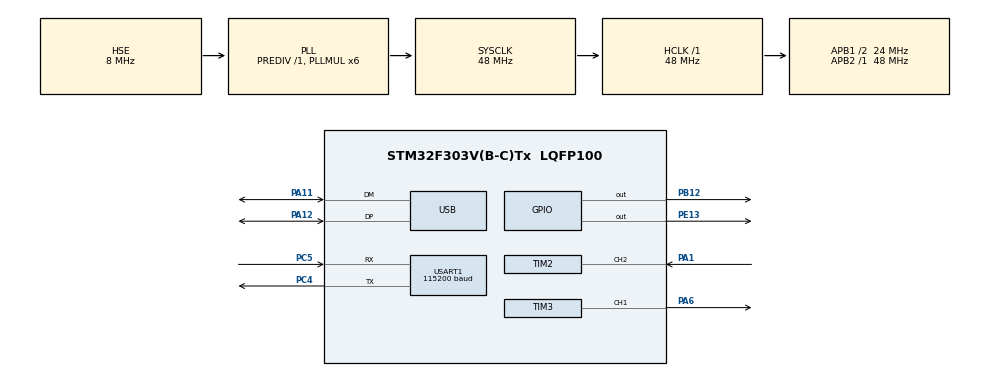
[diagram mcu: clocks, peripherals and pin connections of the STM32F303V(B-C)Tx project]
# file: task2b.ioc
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Mcu.Family=STM32F3
Mcu.Name=STM32F303V(B-C)Tx
Mcu.Package=LQFP100
NVIC.PriorityGroup=NVIC_PRIORITYGROUP_0
NVIC.TIM2_IRQn=true\:0\:0\:false\:false\:true\:true\:true\:true
NVIC.USB_LP_CAN_RX0_IRQn=true\:0\:0\:false\:false\:true\:false\:true\:true
PA1.GPIO_PuPd=GPIO_PULLUP
PA1.Signal=S_TIM2_CH2
PA11.Mode=Device
PA11.Signal=USB_DM
PA12.Mode=Device
PA12.Signal=USB_DP
PA6.Signal=S_TIM3_CH1
PB12.Signal=GPIO_Output
PC4.Mode=Asynchronous
PC4.Signal=USART1_TX
PC5.Mode=Asynchronous
PC5.Signal=USART1_RX
PE13.Signal=GPIO_Output
PF0-OSC_IN.Mode=HSE-External-Oscillator
PF0-OSC_IN.Signal=RCC_OSC_IN
PF1-OSC_OUT.Mode=HSE-External-Oscillator
PF1-OSC_OUT.Signal=RCC_OSC_OUT
ProjectManager.HeapSize=0x200
ProjectManager.StackSize=0x400
ProjectManager.TargetToolchain=CMake
RCC.AHBFreq_Value=48000000
RCC.APB1CLKDivider=RCC_HCLK_DIV2
RCC.APB1Freq_Value=24000000
RCC.APB1TimFreq_Value=48000000
RCC.APB2Freq_Value=48000000
RCC.APB2TimFreq_Value=48000000
RCC.CortexFreq_Value=48000000
RCC.HCLKFreq_Value=48000000
RCC.HSE_VALUE=8000000
RCC.HSI_VALUE=8000000
RCC.LSE_VALUE=32768
RCC.PLLMUL=RCC_PLL_MUL6
RCC.SYSCLKFreq_VALUE=48000000
RCC.SYSCLKSourceVirtual=RCC_SYSCLKSOURCE_PLLCLK
RCC.USBFreq_Value=48000000
SH.S_TIM2_CH2.0=TIM2_CH2,Input_Capture2_from_TI2
SH.S_TIM3_CH1.0=TIM3_CH1,PWM Generation1 CH1
TIM2.Channel-Input_Capture2_from_TI2=TIM_CHANNEL_2
TIM2.Prescaler=71
TIM3.Channel-PWM\ Generation1\ CH1=TIM_CHANNEL_1
TIM3.Period=999
TIM3.Prescaler=71
TIM3.Pulse-PWM\ Generation1\ CH1=500
USART1.BaudRate=115200
USART1.VirtualMode-Asynchronous=VM_ASYNC
USB_DEVICE.CLASS_NAME_FS=CDC
USB_DEVICE.VirtualMode=Cdc
USB_DEVICE.VirtualModeFS=Cdc_FS
VP_TIM2_VS_ClockSourceINT.Mode=Internal
VP_TIM3_VS_ClockSourceINT.Mode=Internal
VP_USB_DEVICE_VS_USB_DEVICE_CDC_FS.Mode=CDC_FS
board=STM32F3DISCOVERY

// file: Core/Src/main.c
/* USER CODE BEGIN Header */
/**
  ******************************************************************************
  * @file           : main.c
  * @brief          : Main program body
  ******************************************************************************
  * @attention
  *
  * Copyright (c) 2025 STMicroelectronics.
  * All rights reserved.
  *
  * This software is licensed under terms that can be found in the LICENSE file
  * in the root directory of this software component.
  * If no LICENSE file comes with this software, it is provided AS-IS.
  *
  ******************************************************************************
  */
/* USER CODE END Header */
#include "main.h"
#include "usb_device.h"

TIM_HandleTypeDef htim2;
TIM_HandleTypeDef htim3;
UART_HandleTypeDef huart1;

/* USER CODE BEGIN PV */
uint32_t IC_Value1 = 0;
uint32_t IC_Value2 = 0;
uint32_t Difference = 0;
uint8_t Is_First_Captured = 0;
float Frequency = 0;
char msg[50];
/* USER CODE END PV */

void SystemClock_Config(void);
static void MX_GPIO_Init(void);
static void MX_TIM2_Init(void);
static void MX_TIM3_Init(void);
static void MX_USART1_UART_Init(void);

int main(void)
{

  /* MCU Configuration--------------------------------------------------------*/

  /* Reset of all peripherals, Initializes the Flash interface and the Systick. */
  HAL_Init();

  /* Configure the system clock */
  SystemClock_Config();

  /* Initialize all configured peripherals */
  MX_GPIO_Init();
  MX_TIM2_Init();
  MX_TIM3_Init();
  MX_USART1_UART_Init();
  MX_USB_DEVICE_Init();
  HAL_TIM_IC_Start_IT(&htim2, TIM_CHANNEL_2);
  HAL_GPIO_WritePin(GPIOB, GPIO_PIN_12, GPIO_PIN_SET); // Ddurection pin
  TIM3->CCR1 = 1000;  //pwm cycle
  HAL_TIM_PWM_Start(&htim3, TIM_CHANNEL_1);

  /* Infinite loop */
  while (1)
  {
    if (Frequency > 0)
        {
          snprintf(msg, sizeof(msg), "Frequency = %.2f Hz\r\n", Frequency);
          HAL_UART_Transmit(&huart1, (uint8_t*)msg, strlen(msg), HAL_MAX_DELAY);
          Frequency = 0;
        }
  }
}

void SystemClock_Config(void)
{
  RCC_OscInitTypeDef RCC_OscInitStruct = {0};
  RCC_ClkInitTypeDef RCC_ClkInitStruct = {0};
  RCC_PeriphCLKInitTypeDef PeriphClkInit = {0};

  /** Initializes the RCC Oscillators according to the specified parameters
  * in the RCC_OscInitTypeDef structure.
  */
  RCC_OscInitStruct.OscillatorType = RCC_OSCILLATORTYPE_HSE;
  RCC_OscInitStruct.HSEState = RCC_HSE_ON;
  RCC_OscInitStruct.HSEPredivValue = RCC_HSE_PREDIV_DIV1;
  RCC_OscInitStruct.HSIState = RCC_HSI_ON;
  RCC_OscInitStruct.PLL.PLLState = RCC_PLL_ON;
  RCC_OscInitStruct.PLL.PLLSource = RCC_PLLSOURCE_HSE;
  RCC_OscInitStruct.PLL.PLLMUL = RCC_PLL_MUL6;
  if (HAL_RCC_OscConfig(&RCC_OscInitStruct) != HAL_OK)
  {
    Error_Handler();
  }

  /** Initializes the CPU, AHB and APB buses clocks
  */
  RCC_ClkInitStruct.ClockType = RCC_CLOCKTYPE_HCLK|RCC_CLOCKTYPE_SYSCLK
                              |RCC_CLOCKTYPE_PCLK1|RCC_CLOCKTYPE_PCLK2;
  RCC_ClkInitStruct.SYSCLKSource = RCC_SYSCLKSOURCE_PLLCLK;
  RCC_ClkInitStruct.AHBCLKDivider = RCC_SYSCLK_DIV1;
  RCC_ClkInitStruct.APB1CLKDivider = RCC_HCLK_DIV2;
  RCC_ClkInitStruct.APB2CLKDivider = RCC_HCLK_DIV1;

  if (HAL_RCC_ClockConfig(&RCC_ClkInitStruct, FLASH_LATENCY_1) != HAL_OK)
  {
    Error_Handler();
  }
  PeriphClkInit.PeriphClockSelection = RCC_PERIPHCLK_USB|RCC_PERIPHCLK_USART1;
  PeriphClkInit.Usart1ClockSelection = RCC_USART1CLKSOURCE_PCLK2;
  PeriphClkInit.USBClockSelection = RCC_USBCLKSOURCE_PLL;
  if (HAL_RCCEx_PeriphCLKConfig(&PeriphClkInit) != HAL_OK)
  {
    Error_Handler();
  }
}

static void MX_TIM2_Init(void)
{

  TIM_ClockConfigTypeDef sClockSourceConfig = {0};
  TIM_MasterConfigTypeDef sMasterConfig = {0};
  TIM_IC_InitTypeDef sConfigIC = {0};

  htim2.Instance = TIM2;
  htim2.Init.Prescaler = 47;
  htim2.Init.CounterMode = TIM_COUNTERMODE_UP;
  htim2.Init.Period = 4294967295;
  htim2.Init.ClockDivision = TIM_CLOCKDIVISION_DIV1;
  htim2.Init.AutoReloadPreload = TIM_AUTORELOAD_PRELOAD_DISABLE;
  if (HAL_TIM_Base_Init(&htim2) != HAL_OK)
  {
    Error_Handler();
  }
  sClockSourceConfig.ClockSource = TIM_CLOCKSOURCE_INTERNAL;
  if (HAL_TIM_ConfigClockSource(&htim2, &sClockSourceConfig) != HAL_OK)
  {
    Error_Handler();
  }
  if (HAL_TIM_IC_Init(&htim2) != HAL_OK)
  {
    Error_Handler();
  }
  sMasterConfig.MasterOutputTrigger = TIM_TRGO_RESET;
  sMasterConfig.MasterSlaveMode = TIM_MASTERSLAVEMODE_DISABLE;
  if (HAL_TIMEx_MasterConfigSynchronization(&htim2, &sMasterConfig) != HAL_OK)
  {
    Error_Handler();
  }
  sConfigIC.ICPolarity = TIM_INPUTCHANNELPOLARITY_RISING;
  sConfigIC.ICSelection = TIM_ICSELECTION_DIRECTTI;
  sConfigIC.ICPrescaler = TIM_ICPSC_DIV1;
  sConfigIC.ICFilter = 0;
  if (HAL_TIM_IC_ConfigChannel(&htim2, &sConfigIC, TIM_CHANNEL_2) != HAL_OK)
  {
    Error_Handler();
  }

}

static void MX_TIM3_Init(void)
{

  TIM_ClockConfigTypeDef sClockSourceConfig = {0};
  TIM_MasterConfigTypeDef sMasterConfig = {0};
  TIM_OC_InitTypeDef sConfigOC = {0};

  htim3.Instance = TIM3;
  htim3.Init.Prescaler = 47;
  htim3.Init.CounterMode = TIM_COUNTERMODE_UP;
  htim3.Init.Period = 1999;
  htim3.Init.ClockDivision = TIM_CLOCKDIVISION_DIV1;
  htim3.Init.AutoReloadPreload = TIM_AUTORELOAD_PRELOAD_DISABLE;
  if (HAL_TIM_Base_Init(&htim3) != HAL_OK)
  {
    Error_Handler();
  }
  sClockSourceConfig.ClockSource = TIM_CLOCKSOURCE_INTERNAL;
  if (HAL_TIM_ConfigClockSource(&htim3, &sClockSourceConfig) != HAL_OK)
  {
    Error_Handler();
  }
  if (HAL_TIM_PWM_Init(&htim3) != HAL_OK)
  {
    Error_Handler();
  }
  sMasterConfig.MasterOutputTrigger = TIM_TRGO_RESET;
  sMasterConfig.MasterSlaveMode = TIM_MASTERSLAVEMODE_DISABLE;
  if (HAL_TIMEx_MasterConfigSynchronization(&htim3, &sMasterConfig) != HAL_OK)
  {
    Error_Handler();
  }
  sConfigOC.OCMode = TIM_OCMODE_PWM1;
  sConfigOC.Pulse = 500;
  sConfigOC.OCPolarity = TIM_OCPOLARITY_HIGH;
  sConfigOC.OCFastMode = TIM_OCFAST_DISABLE;
  if (HAL_TIM_PWM_ConfigChannel(&htim3, &sConfigOC, TIM_CHANNEL_1) != HAL_OK)
  {
    Error_Handler();
  }
  HAL_TIM_MspPostInit(&htim3);

}

static void MX_USART1_UART_Init(void)
{

  huart1.Instance = USART1;
  huart1.Init.BaudRate = 115200;
  huart1.Init.WordLength = UART_WORDLENGTH_8B;
  huart1.Init.StopBits = UART_STOPBITS_1;
  huart1.Init.Parity = UART_PARITY_NONE;
  huart1.Init.Mode = UART_MODE_TX_RX;
  huart1.Init.HwFlowCtl = UART_HWCONTROL_NONE;
  huart1.Init.OverSampling = UART_OVERSAMPLING_16;
  huart1.Init.OneBitSampling = UART_ONE_BIT_SAMPLE_DISABLE;
  huart1.AdvancedInit.AdvFeatureInit = UART_ADVFEATURE_NO_INIT;
  if (HAL_UART_Init(&huart1) != HAL_OK)
  {
    Error_Handler();
  }

}

static void MX_GPIO_Init(void)
{
  GPIO_InitTypeDef GPIO_InitStruct = {0};

  /* GPIO Ports Clock Enable */
  __HAL_RCC_GPIOF_CLK_ENABLE();
  __HAL_RCC_GPIOA_CLK_ENABLE();
  __HAL_RCC_GPIOC_CLK_ENABLE();
  __HAL_RCC_GPIOE_CLK_ENABLE();
  __HAL_RCC_GPIOB_CLK_ENABLE();

  /*Configure GPIO pin Output Level */
  HAL_GPIO_WritePin(GPIOE, GPIO_PIN_13, GPIO_PIN_RESET);

  /*Configure GPIO pin Output Level */
  HAL_GPIO_WritePin(GPIOB, GPIO_PIN_12, GPIO_PIN_RESET);

  /*Configure GPIO pin : PE13 */
  GPIO_InitStruct.Pin = GPIO_PIN_13;
  GPIO_InitStruct.Mode = GPIO_MODE_OUTPUT_PP;
  GPIO_InitStruct.Pull = GPIO_NOPULL;
  GPIO_InitStruct.Speed = GPIO_SPEED_FREQ_LOW;
  HAL_GPIO_Init(GPIOE, &GPIO_InitStruct);

  /*Configure GPIO pin : PB12 */
  GPIO_InitStruct.Pin = GPIO_PIN_12;
  GPIO_InitStruct.Mode = GPIO_MODE_OUTPUT_PP;
  GPIO_InitStruct.Pull = GPIO_NOPULL;
  GPIO_InitStruct.Speed = GPIO_SPEED_FREQ_LOW;
  HAL_GPIO_Init(GPIOB, &GPIO_InitStruct);

  /* USER CODE BEGIN MX_GPIO_Init_2 */
GPIO_InitStruct.Pin = GPIO_PIN_12;
  GPIO_InitStruct.Mode = GPIO_MODE_OUTPUT_PP;
  GPIO_InitStruct.Pull = GPIO_NOPULL;
  GPIO_InitStruct.Speed = GPIO_SPEED_FREQ_LOW;
  HAL_GPIO_Init(GPIOE, &GPIO_InitStruct);
  /* USER CODE END MX_GPIO_Init_2 */
}

/* USER CODE BEGIN 4 */
void HAL_TIM_IC_CaptureCallback(TIM_HandleTypeDef *htim)
{
    if (htim->Instance == TIM2 && htim->Channel == HAL_TIM_ACTIVE_CHANNEL_2)
    {
        HAL_GPIO_WritePin(GPIOE, GPIO_PIN_13,1);
        if (Is_First_Captured == 0)
        {
            IC_Value1 = HAL_TIM_ReadCapturedValue(htim, TIM_CHANNEL_2);
            Is_First_Captured = 1;
        }
        else
        {
            IC_Value2 = HAL_TIM_ReadCapturedValue(htim, TIM_CHANNEL_2);
            if (IC_Value2 > IC_Value1)
                Difference = IC_Value2 - IC_Value1;
            else
                Difference = (0xFFFFFFFF - IC_Value1) + IC_Value2;

            // tick is 1 micros so frequency = 1000000/Difference
            Frequency = 1000000.0f / Difference;

            Is_First_Captured = 0; //reset for next measurement
        }
    }
}
/* USER CODE END 4 */

void Error_Handler(void)
{
  __disable_irq();
  while (1)
  {
  }
}
